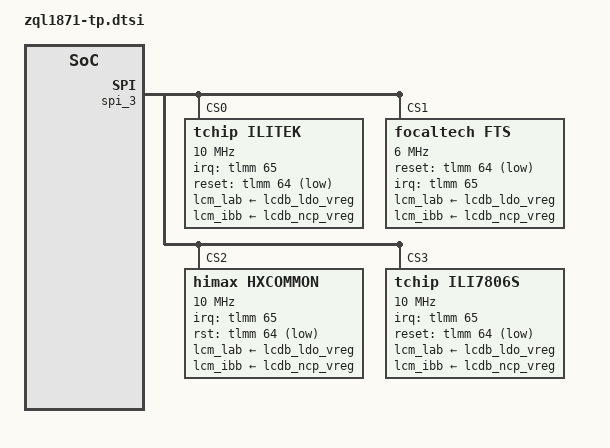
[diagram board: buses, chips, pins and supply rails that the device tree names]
&i2c_3{
	status = "disable";
};
&spi_3{
	status = "ok";
	ilitek@0{
		compatible = "tchip,ilitek";
		reg = <0x0>;
		/* HS70 add for SR-ZQL1871-01-177 by gaozhengwei at 2019/11/02 start */
		lcm_lab-supply = <&lcdb_ldo_vreg>;//Adding Power Properties
		lcm_ibb-supply = <&lcdb_ncp_vreg>;
		/* HS70 add for SR-ZQL1871-01-177 by gaozhengwei at 2019/11/02 end */
		spi-max-frequency = <10000000>;
		interrupt-parent = <&tlmm>;
		interrupts = <65 0x02>;
		touch,irq-gpio = <&tlmm 65 0x02>;
		touch,reset-gpio = <&tlmm 64 0x01>;
		/* HS70 code for HS70-133 by liufurong at 2019/10/31 start */
		pinctrl-names = "default","int-output-high","int-output-low","int-input";
		pinctrl-0 = <&ts_int_default>;
		pinctrl-1 = <&ts_int_output_high>;
		pinctrl-2 = <&ts_int_output_low>;
		pinctrl-3 = <&ts_int_input>;
		/* HS70 code for HS70-133 by liufurong at 2019/10/31 end */
	};
	focaltech@1 {
		compatible = "focaltech,fts";
		reg = <0x1>;
		lcm_lab-supply = <&lcdb_ldo_vreg>;//Adding Power Properties
		lcm_ibb-supply = <&lcdb_ncp_vreg>;
		/* HS70 add for HS70-1007 by gaozhengwei at 2019/11/22 start */
		spi-max-frequency = <6000000>;
		/* HS70 add for HS70-1007 by gaozhengwei at 2019/11/22 end */
		interrupt-parent = <&tlmm>;
		interrupts = <65 0x2>;
		focaltech,reset-gpio = <&tlmm 64 0x01>;
		focaltech,irq-gpio = <&tlmm 65 0x02>;
		focaltech,max-touch-number = <10>;
		focaltech,display-coords =  <0 0 720 1560>;

		pinctrl-names = "pmx_ts_active","pmx_ts_suspend","pmx_ts_release";
		pinctrl-0 = <&ts_int_active &ts_reset_active>;
		pinctrl-1 = <&ts_int_suspend &ts_reset_suspend>;
		pinctrl-2 = <&ts_release>;
	};
	himax@2{
		compatible = "himax,hxcommon";
		reg = <0x2>;
		spi-max-frequency = <10000000>;
		interrupt-parent = <&tlmm>;
		lcm_lab-supply = <&lcdb_ldo_vreg>;//Adding Power Properties
		lcm_ibb-supply = <&lcdb_ncp_vreg>;
		interrupts = <65 0x02>;
		himax,panel-coords = <0 720 0 1560>;
		himax,display-coords = <0 720 0 1560>;
		himax,irq-gpio = <&tlmm 65 0x02>;
		himax,rst-gpio = <&tlmm 64 0x01>;
		himax,touch_info = <34 16 0 720 1560 10 0 1>;
		himax,vdd_1v8_always_on;
		report_type = <1>;
	};
	ili7806s@3{
		compatible = "tchip,ili7806s";
		reg = <0x3>;
		/* HS70 add for SR-ZQL1871-01-177 by gaozhengwei at 2019/11/02 start */
		lcm_lab-supply = <&lcdb_ldo_vreg>;//Adding Power Properties
		lcm_ibb-supply = <&lcdb_ncp_vreg>;
		/* HS70 add for SR-ZQL1871-01-177 by gaozhengwei at 2019/11/02 end */
		spi-max-frequency = <10000000>;
		interrupt-parent = <&tlmm>;
		interrupts = <65 0x02>;
		touch,irq-gpio = <&tlmm 65 0x02>;
		touch,reset-gpio = <&tlmm 64 0x01>;
		/* HS70 code for HS70-133 by liufurong at 2019/10/31 start */
		pinctrl-names = "default","int-output-high","int-output-low","int-input";
		pinctrl-0 = <&ts_int_default>;
		pinctrl-1 = <&ts_int_output_high>;
		pinctrl-2 = <&ts_int_output_low>;
		pinctrl-3 = <&ts_int_input>;
		/* HS70 code for HS70-133 by liufurong at 2019/10/31 end */
	};
};
/* HS70 code for HS70-133 by liufurong at 2019/10/31 start */
&tlmm {
	default {
		ts_int_default: ts_int_default {
			mux {
				pins = "gpio65";
				function = "gpio";
			};
			config {
				pins = "gpio65";
				drive-strength = <8>;
				input-enable;
				bias-pull-up;
			};
		};
	};
	int-output-high {
		ts_int_output_high: ts_int_output_high {
			mux {
				pins = "gpio65";
				function = "gpio";
			};
			config {
				pins = "gpio65";
				drive-strength = <8>;
				output-high;
				bias-pull-up;
			};
		};
	};
	int-output-low {
		ts_int_output_low: ts_int_output_low {
			mux {
				pins = "gpio65";
				function = "gpio";
			};
			config {
				pins = "gpio65";
				drive-strength = <8>;
				bias-pull-down;
				output-low;
			};
		};
	};
	int-input {
		ts_int_input: ts_int_input {
			mux {
				pins = "gpio65";
				function = "gpio";
			};
			config {
				pins = "gpio65";
				drive-strength = <8>;
				input-enable;
				bias-pull-up;
			};
		};
	};
};
/* HS70 code for HS70-133 by liufurong at 2019/10/31 end */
